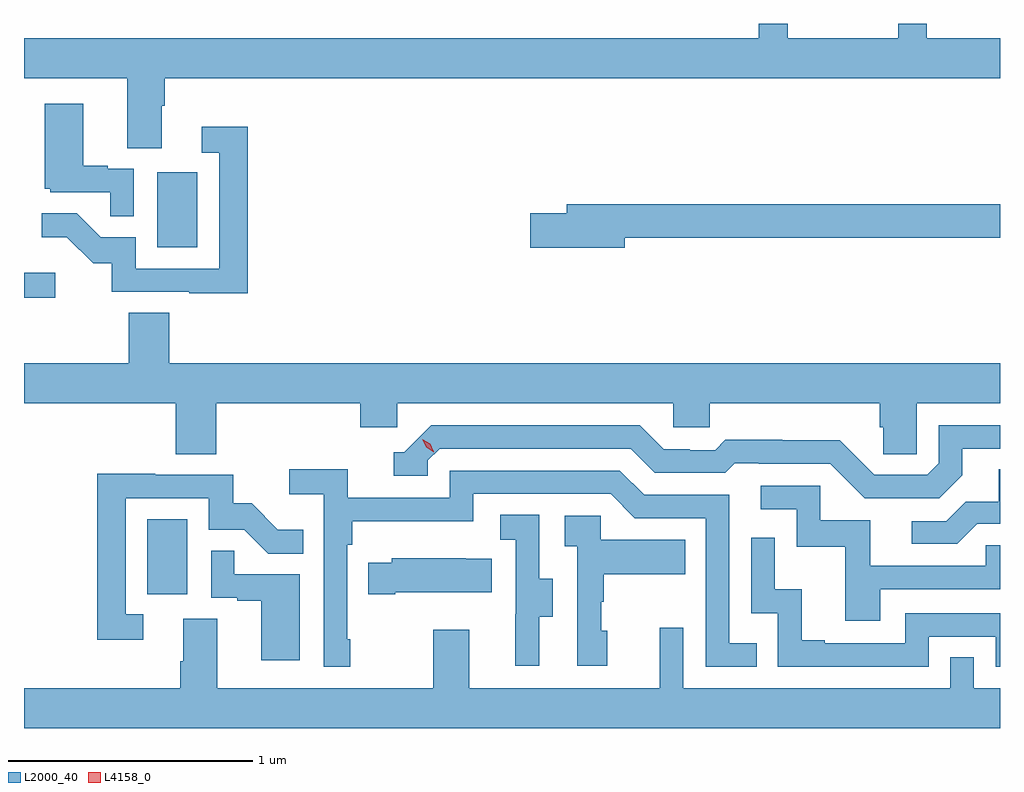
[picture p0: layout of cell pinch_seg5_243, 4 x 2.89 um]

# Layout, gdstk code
import gdstk
lib = gdstk.Library(unit=1e-6, precision=1e-09)
def R(c, l, rs):  # rectangles x0, y0, x1, y1
    for r in rs: c.add(gdstk.rectangle(r[:2], r[2:], *l))
def P(c, l, *ps):  # polygons
    for p in ps: c.add(gdstk.Polygon(p, *l))
L2000_40 = (2000, 40)
L4158_0 = (4158, 0)

pinch_seg5_243 = lib.new_cell('pinch_seg5_243')
R(pinch_seg5_243, L2000_40, [(938.324,905.262,938.488,905.569), (937.819,906.478,937.948,906.58), (938.366,906.684,938.53,906.991)])
P(pinch_seg5_243, L2000_40, [(938.383,907.264),(938.396,907.264),(938.396,907.376),(941.819,907.376),(941.819,907.54),(941.519,907.54),(941.519,907.601),(941.402,907.601),(941.402,907.54),(940.949,907.54),(940.949,907.601),(940.831,907.601),(940.831,907.54),(937.819,907.54),(937.819,907.376),(938.243,907.376),(938.243,907.09),(938.383,907.09)],
  [(938.268,907.005),(938.162,907.005),(938.162,907.018),(938.062,907.018),(938.062,907.273),(937.904,907.273),(937.904,906.924),(937.926,906.924),(937.926,906.909),(938.173,906.909),(938.173,906.811),(938.268,906.811)],
  [(938.735,907.177),(938.547,907.177),(938.547,907.071),(938.619,907.071),(938.619,906.597),(938.277,906.597),(938.277,906.726),(938.133,906.726),(938.035,906.824),(937.891,906.824),(937.891,906.725),(937.995,906.725),(938.102,906.618),(938.179,906.618),(938.179,906.501),(938.497,906.501),(938.497,906.496),(938.735,906.496)],
  [(940.282,906.724),(941.819,906.724),(941.819,906.86),(940.043,906.86),(940.043,906.824),(939.894,906.824),(939.894,906.682),(940.282,906.682)],
  [(938.606,906.044),(939.197,906.044),(939.197,905.946),(939.348,905.946),(939.348,906.044),(940.479,906.044),(940.479,905.946),(940.629,905.946),(940.629,906.044),(941.327,906.044),(941.327,905.946),(941.341,905.946),(941.341,905.836),(941.478,905.836),(941.478,906.044),(941.819,906.044),(941.819,906.208),(938.414,906.208),(938.414,906.416),(938.249,906.416),(938.249,906.208),(937.819,906.208),(937.819,906.044),(938.441,906.044),(938.441,905.836),(938.606,905.836)],
  [(941.665,905.749),(941.665,905.859),(941.819,905.859),(941.819,905.955),(941.568,905.955),(941.568,905.799),(941.52,905.751),(941.304,905.751),(941.162,905.893),(940.926,905.893),(940.926,905.896),(940.693,905.896),(940.651,905.853),(940.548,905.853),(940.548,905.856),(940.441,905.856),(940.342,905.955),(939.489,905.955),(939.378,905.844),(939.335,905.844),(939.335,905.748),(939.474,905.748),(939.474,905.811),(939.522,905.859),(940.305,905.859),(940.404,905.76),(940.693,905.76),(940.732,905.799),(940.831,905.799),(940.831,905.796),(941.124,905.796),(941.265,905.655),(941.571,905.655)],
  [(939.157,905.077),(939.144,905.077),(939.144,905.465),(939.164,905.465),(939.164,905.561),(939.66,905.561),(939.66,905.673),(940.224,905.673),(940.323,905.574),(940.614,905.574),(940.614,904.965),(940.823,904.965),(940.823,905.061),(940.71,905.061),(940.71,905.67),(940.36,905.67),(940.261,905.769),(939.564,905.769),(939.564,905.658),(939.146,905.658),(939.146,905.774),(938.907,905.774),(938.907,905.672),(939.048,905.672),(939.048,904.965),(939.157,904.965)],
  [(941.725,905.55),(941.819,905.55),(941.819,905.774),(941.813,905.774),(941.813,905.642),(941.678,905.642),(941.598,905.562),(941.457,905.562),(941.457,905.469),(941.644,905.469)],
  [(938.308,905.181),(938.235,905.181),(938.235,905.655),(938.577,905.655),(938.577,905.526),(938.721,905.526),(938.819,905.428),(938.963,905.428),(938.963,905.527),(938.859,905.527),(938.752,905.634),(938.676,905.634),(938.676,905.751),(938.357,905.751),(938.357,905.756),(938.119,905.756),(938.119,905.076),(938.308,905.076)],
  [(941.329,905.283),(941.819,905.283),(941.819,905.463),(941.761,905.463),(941.761,905.379),(941.287,905.379),(941.287,905.565),(941.082,905.565),(941.082,905.706),(940.839,905.706),(940.839,905.61),(940.986,905.61),(940.986,905.457),(941.185,905.457),(941.185,905.154),(941.329,905.154)],
  [(939.931,905.17),(939.985,905.17),(939.985,905.325),(939.93,905.325),(939.93,905.588),(939.771,905.588),(939.771,905.485),(939.834,905.485),(939.834,905.181),(939.833,905.181),(939.833,904.968),(939.931,904.968)],
  [(940.21,905.112),(940.185,905.112),(940.185,905.231),(940.195,905.231),(940.195,905.345),(940.529,905.345),(940.529,905.485),(940.182,905.485),(940.182,905.583),(940.035,905.583),(940.035,905.459),(940.086,905.459),(940.086,904.968),(940.21,904.968)],
  [(941.526,905.088),(941.802,905.088),(941.802,904.965),(941.819,904.965),(941.819,905.184),(941.43,905.184),(941.43,905.061),(941.101,905.061),(941.101,905.074),(941.006,905.074),(941.006,905.282),(940.896,905.282),(940.896,905.494),(940.8,905.494),(940.8,905.184),(940.908,905.184),(940.908,904.965),(941.526,904.965)],
  [(938.95,905.343),(938.681,905.343),(938.681,905.441),(938.586,905.441),(938.586,905.247),(938.693,905.247),(938.693,905.235),(938.792,905.235),(938.792,904.992),(938.95,904.992)],
  [(939.34,905.27),(939.737,905.27),(939.737,905.407),(939.629,905.407),(939.629,905.41),(939.327,905.41),(939.327,905.392),(939.229,905.392),(939.229,905.263),(939.34,905.263)],
  [(941.819,904.876),(941.712,904.876),(941.712,905.003),(941.616,905.003),(941.616,904.876),(940.521,904.876),(940.521,905.125),(940.424,905.125),(940.424,904.876),(939.643,904.876),(939.643,905.116),(939.496,905.116),(939.496,904.876),(938.611,904.876),(938.611,905.162),(938.471,905.162),(938.471,904.988),(938.459,904.988),(938.459,904.876),(937.819,904.876),(937.819,904.712),(941.819,904.712)])
P(pinch_seg5_243, L4158_0, [(939.498,905.845),(939.468,905.865),(939.452,905.898),(939.452,905.898),(939.452,905.898),(939.483,905.878),(939.498,905.846),(939.498,905.845)])

lib.write_gds('pinch_seg5_243.gds')
